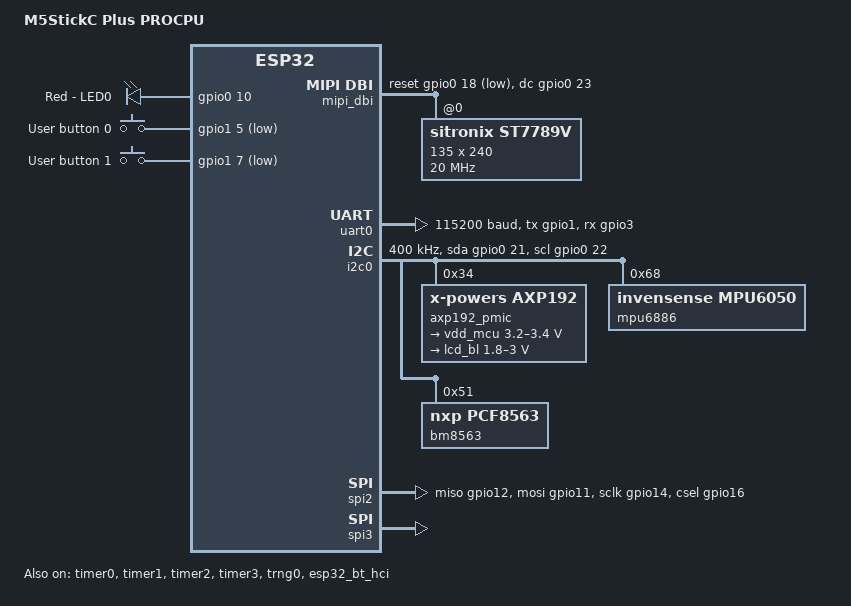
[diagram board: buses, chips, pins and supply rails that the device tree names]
/*
 * Copyright (c) 2022 AVSystem Sławomir Wolf Sp.j. (AVSystem)
 *
 * SPDX-License-Identifier: Apache-2.0
 */
/dts-v1/;

#include <espressif/esp32/esp32_pico_d4.dtsi>
#include "m5stickc_plus-pinctrl.dtsi"
#include <zephyr/dt-bindings/input/input-event-codes.h>
#include <zephyr/dt-bindings/regulator/axp192.h>
#include <zephyr/dt-bindings/mipi_dbi/mipi_dbi.h>
#include <espressif/partitions_0x1000_amp.dtsi>

/ {
	model = "M5StickC Plus PROCPU";
	compatible = "m5stack,m5stickc-plus";

	aliases {
		led0 = &red_led;
		sw0 = &user_button_0;
		sw1 = &user_button_1;
		uart-0 = &uart0;
		i2c-0 = &i2c0;
		watchdog0 = &wdt0;
		accel0 = &mpu6886;
		rtc = &bm8563;
	};

	chosen {
		zephyr,sram = &sram0;
		zephyr,console = &uart0;
		zephyr,shell-uart = &uart0;
		zephyr,flash = &flash0;
		zephyr,code-partition = &slot0_partition;
		zephyr,rtc = &bm8563;
		zephyr,display = &st7789v;
		zephyr,bt-hci = &esp32_bt_hci;
	};

	leds {
		compatible = "gpio-leds";

		red_led: led_0 {
			gpios =  <&gpio0 10 GPIO_ACTIVE_HIGH>;
			label = "Red - LED0";
		};
	};

	gpio_keys {
		compatible = "gpio-keys";

		user_button_0: button_0 {
			label = "User button 0";
			gpios = <&gpio1 5 GPIO_ACTIVE_LOW>;
			zephyr,code = <INPUT_KEY_0>;
		};
		user_button_1: button_1 {
			label = "User button 1";
			gpios = <&gpio1 7 GPIO_ACTIVE_LOW>;
			zephyr,code = <INPUT_KEY_1>;
		};
	};

	mipi_dbi {
		compatible = "zephyr,mipi-dbi-spi";
		spi-dev = <&spi3>;
		dc-gpios = <&gpio0 23 GPIO_ACTIVE_HIGH>;
		reset-gpios = <&gpio0 18 GPIO_ACTIVE_LOW>;
		write-only;
		#address-cells = <1>;
		#size-cells = <0>;

		st7789v: st7789v@0 {
			compatible = "sitronix,st7789v";
			reg = <0>;
			mipi-max-frequency = <20000000>;

			width = <135>;
			height = <240>;
			x-offset = <53>;
			y-offset = <40>;

			vcom = <0x28>;
			gctrl = <0x35>;
			vrhs = <0x10>;
			vdvs = <0x20>;
			mdac = <0x00>;
			gamma = <0x01>;
			colmod = <0x55>;
			lcm = <0x2c>;
			porch-param = [0c 0c 00 33 33];
			cmd2en-param = [5a 69 02 00];
			pwctrl1-param = [a4 a1];
			pvgam-param = [d0 00 02 07 0a 28 32 44 42 06 0e 12 14 17];
			nvgam-param = [d0 00 02 07 0a 28 31 54 47 0e 1c 17 1b 1e];
			ram-param = [00 F0];
			rgb-param = [40 02 14];
			mipi-mode = <MIPI_DBI_MODE_SPI_4WIRE>;
		};
	};
};

&uart0 {
	status = "okay";
	current-speed = <115200>;
	pinctrl-0 = <&uart0_tx_gpio1 &uart0_rx_gpio3>;
	pinctrl-names = "default";
};

&gpio0 {
	status = "okay";
};

&gpio1 {
	status = "okay";
};

/* IMU MPU-6886, RTC BM8563, PMU AXP192 */
&i2c0 {
	status = "okay";
	clock-frequency = <I2C_BITRATE_FAST>;
	sda-gpios = <&gpio0 21 GPIO_OPEN_DRAIN>;
	scl-gpios = <&gpio0 22 GPIO_OPEN_DRAIN>;
	pinctrl-0 = <&i2c0_default>;
	scl-timeout-us = <0>;
	pinctrl-names = "default";

	axp192_pmic: axp192@34 {
		compatible = "x-powers,axp192";
		reg = <0x34>;
		status = "okay";

		axp192_regulator: axp192_regulator {
			compatible = "x-powers,axp192-regulator";
			status = "okay";

			vdd_mcu: DCDC1 {
				regulator-init-microvolt = <3350000>;
				regulator-min-microvolt = <3200000>;
				regulator-max-microvolt = <3400000>;
				regulator-initial-mode = <AXP192_DCDC_MODE_AUTO>;
				regulator-boot-on;
				regulator-always-on;
			};

			lcd_bl: LDO2 {
				regulator-init-microvolt = <2800000>;
				regulator-min-microvolt = <1800000>;
				regulator-max-microvolt = <3000000>;
				regulator-boot-on;
			};

			lcd_logic: LDO3 {
				regulator-init-microvolt = <3000000>;
			};
		};
		axp192_gpio: axp192_gpio {
			compatible = "x-powers,axp192-gpio";
			gpio-controller;
			#gpio-cells = <2>;
			ngpios = <6>;
			status = "okay";
		};
	};

	mpu6886: mpu6886@68 {
		status = "okay";
		compatible = "invensense,mpu6050";
		reg = <0x68>;
	};

	bm8563: bm8563@51 {
		compatible = "nxp,pcf8563";
		reg = <0x51>;
		status = "okay";
	};
};

&spi2 {
	#address-cells = <1>;
	#size-cells = <0>;
	status = "okay";
	pinctrl-0 = <&spim2_miso_gpio12 &spim2_mosi_gpio11
				&spim2_sclk_gpio14 &spim2_csel_gpio16>;
	pinctrl-names = "default";
};

/* LCD TFT 1.14", 135x240 px, ST7789v2 */
&spi3 {
	#address-cells = <1>;
	#size-cells = <0>;
	status = "okay";
	pinctrl-0 = <&spim3_default>;
	pinctrl-names = "default";
};

&timer0 {
	status = "okay";
};

&timer1 {
	status = "okay";
};

&timer2 {
	status = "okay";
};

&timer3 {
	status = "okay";
};

&trng0 {
	status = "okay";
};

&esp32_bt_hci {
	status = "okay";
};
